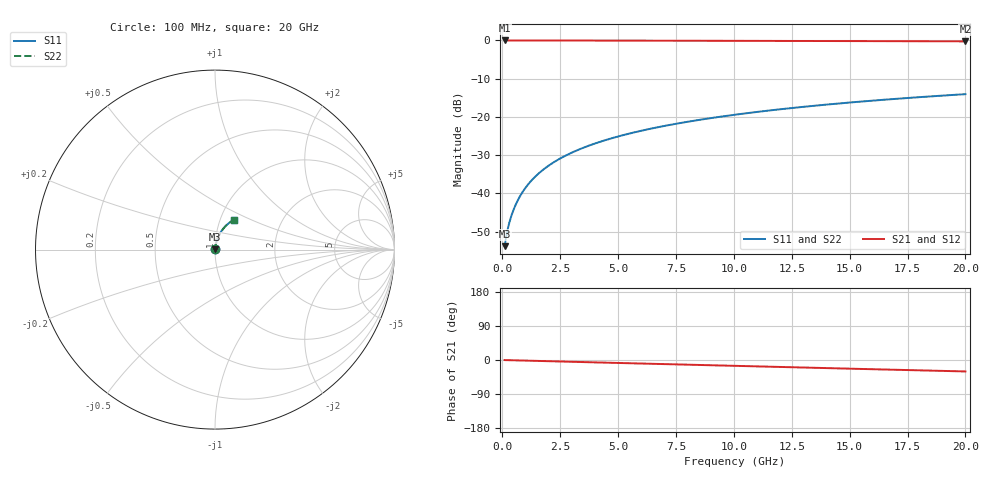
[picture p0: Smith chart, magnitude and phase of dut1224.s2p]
! Touchstone file exported from HFSS 2026.1.0
!  File:  C:/ffzhzh/LocalFiles/Ansys_Project_Files/temp_train_TMRDL_1224_1783163373_55132.aedt
!  Generated:  07:10:48 PM Jul  4, 2026
!  Design:  TMRDL
!  Project:  temp_train_TMRDL_1224_1783163373_55132
! Variables:
!  h_bsmrdl = 2um
!  h_ox = 20um
!  h_rdl = 5um
!  h_sub = 80um
!  h_tmrdl = 4.95um
!  h_tsv = 80um
!  h_via = 3um
!  l_bsmrdl = 300um
!  l_sub = 876.82um
!  l_tmrdl = 476.82um
!  m_sub = 200um
!  pitch = 42.53um
!  r_tsv = 6um
!  s_tmrdl = 10um
!  w_bsmrdl = 18um
!  w_sub = 500um
!  w_tmrdl = 26.07um
!  x_tsv_center1 = 489.855um
!  x_tsv_center2 = 807.855um
!  x_tsv_center3 = 1310.745um
!  x_tsv_center4 = 1628.745um
!  x_tsv_center5 = 2131.635um
!  x_tsv_center6 = 2449.635um
# GHz S MA R 50.000000
! Terminal data exported
! Port[1] = TM_RDL1_1_T1
! Port[2] = TM_RDL1_1_T2
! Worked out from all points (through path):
!   200 points, 100 MHz to 20 GHz, reference 50 ohm
!   highest |S21| = -0.01 dB at 100 MHz (marker M1); lowest = -0.3 dB at 20 GHz (marker M2)
!   group delay of S21, straight-line fit = 4.19 ps
!   lowest |S11| = -53.8 dB at 100 MHz (marker M3), VSWR 1.00, Z = 50.2 + j0.135 ohm
!   |S11| at or under -10 dB: start of sweep to end of sweep
!   |S22| runs from -53.8 to -14.1 dB; largest |S21 - S12| = 2.4e-15
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0.1  0.002037 41.4  0.9985 -0.2  0.9985 -0.2  0.002037 41.4
! Gamma 0 0 0 0
! Port Impedance 50 0 50 0
0.2  0.003064 56.5  0.9983 -0.3  0.9983 -0.3  0.003064 56.5
0.3  0.004112 63.8  0.9982 -0.5  0.9982 -0.5  0.004112 63.8
0.4  0.005172 68.3  0.9981 -0.6  0.9981 -0.6  0.005172 68.3
0.5  0.006249 71.4  0.9981 -0.8  0.9981 -0.8  0.006249 71.4
0.6  0.007342 73.7  0.998 -1.0  0.998 -1.0  0.007342 73.7
0.8  0.009558 76.5  0.9979 -1.3  0.9979 -1.3  0.009558 76.5
1.1  0.01292 78.8  0.9978 -1.8  0.9978 -1.8  0.01292 78.8
1.3  0.01517 79.5  0.9977 -2.1  0.9977 -2.1  0.01517 79.5
1.6  0.01854 80.2  0.9975 -2.5  0.9975 -2.5  0.01854 80.2
2.1  0.02413 80.5  0.9971 -3.3  0.9971 -3.3  0.02413 80.5
2.7  0.03076 80.2  0.9966 -4.3  0.9966 -4.3  0.03076 80.2
3.5  0.03947 79.5  0.9958 -5.5  0.9958 -5.5  0.03947 79.5
4.2  0.04696 78.7  0.995 -6.6  0.995 -6.6  0.04696 78.7
5  0.05541 77.7  0.9941 -7.8  0.9941 -7.8  0.05541 77.7
5.9  0.06479 76.6  0.9931 -9.2  0.9931 -9.2  0.06479 76.6
6.8  0.07406 75.4  0.992 -10.6  0.992 -10.6  0.07406 75.4
8.3  0.08929 73.4  0.9902 -12.8  0.9902 -12.8  0.08929 73.4
10.1  0.1072 71.0  0.9878 -15.5  0.9878 -15.5  0.1072 71.0
13.4  0.1391 66.5  0.9829 -20.5  0.9829 -20.5  0.1391 66.5
16.7  0.1695 61.9  0.9773 -25.4  0.9773 -25.4  0.1695 61.9
20  0.1982 57.3  0.9713 -30.2  0.9713 -30.2  0.1982 57.3
